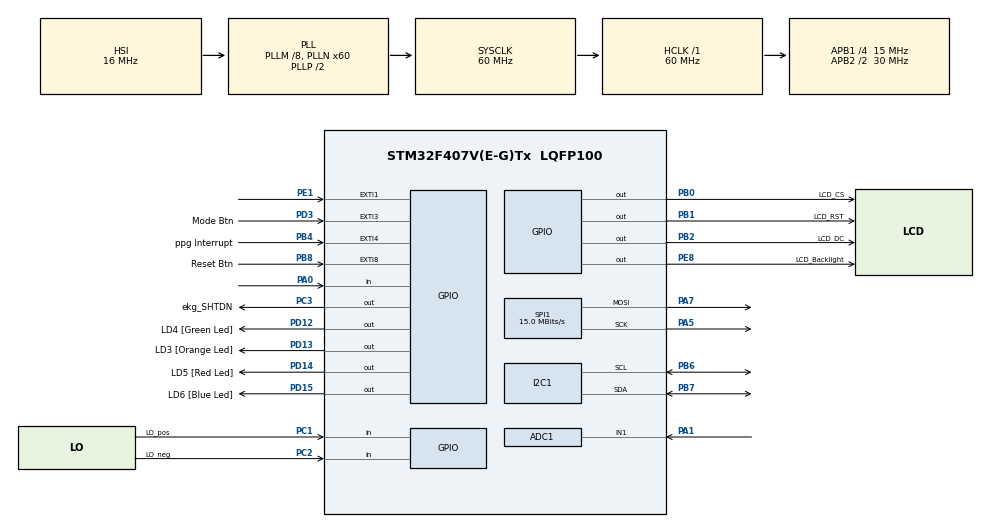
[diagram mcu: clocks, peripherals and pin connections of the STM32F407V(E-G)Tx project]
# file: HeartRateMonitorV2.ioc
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ADC1.Channel-2\#ChannelRegularConversion=ADC_CHANNEL_1
ADC1.ContinuousConvMode=DISABLE
ADC1.EOCSelection=ADC_EOC_SINGLE_CONV
ADC1.ExternalTrigConv=ADC_EXTERNALTRIGCONV_T3_TRGO
ADC1.NbrOfConversion=1
ADC1.NbrOfConversionFlag=1
ADC1.Rank-2\#ChannelRegularConversion=1
ADC1.SamplingTime-2\#ChannelRegularConversion=ADC_SAMPLETIME_3CYCLES
ADC1.master=1
Mcu.Family=STM32F4
Mcu.Name=STM32F407V(E-G)Tx
Mcu.Package=LQFP100
NVIC.ADC_IRQn=true\:1\:1\:true\:false\:true\:true\:true\:true
NVIC.EXTI1_IRQn=true\:2\:1\:true\:false\:true\:true\:true\:true
NVIC.EXTI3_IRQn=true\:2\:1\:true\:false\:true\:true\:true\:true
NVIC.EXTI4_IRQn=true\:1\:1\:true\:false\:true\:true\:true\:true
NVIC.EXTI9_5_IRQn=true\:2\:1\:true\:false\:true\:true\:true\:true
NVIC.I2C1_EV_IRQn=true\:1\:1\:true\:false\:true\:true\:true\:true
NVIC.PriorityGroup=NVIC_PRIORITYGROUP_2
NVIC.TIM6_DAC_IRQn=true\:0\:2\:true\:false\:true\:true\:true\:true
PA0-WKUP.Signal=GPIO_Input
PA1.Signal=ADCx_IN1
PA5.GPIO_PuPd=GPIO_PULLDOWN
PA5.Mode=TX_Only_Simplex_Unidirect_Master
PA5.Signal=SPI1_SCK
PA6.Signal=SPI1_MISO
PA7.GPIO_PuPd=GPIO_NOPULL
PA7.Mode=TX_Only_Simplex_Unidirect_Master
PA7.Signal=SPI1_MOSI
PB0.GPIO_Label=LCD_CS
PB0.Signal=GPIO_Output
PB1.GPIO_Label=LCD_RST
PB1.Signal=GPIO_Output
PB2.GPIO_Label=LCD_DC
PB2.Signal=GPIO_Output
PB4.GPIO_Label=ppg Interrupt
PB4.GPIO_ModeDefaultEXTI=GPIO_MODE_IT_FALLING
PB4.GPIO_PuPd=GPIO_PULLUP
PB4.Signal=GPXTI4
PB6.GPIO_Pu=GPIO_PULLUP
PB6.Mode=I2C
PB6.Signal=I2C1_SCL
PB7.GPIO_Pu=GPIO_PULLUP
PB7.Mode=I2C
PB7.Signal=I2C1_SDA
PB8.GPIO_Label=Reset Btn
PB8.GPIO_ModeDefaultEXTI=GPIO_MODE_IT_FALLING
PB8.GPIO_PuPd=GPIO_PULLUP
PB8.Signal=GPXTI8
PC1.GPIO_Label=LO_pos
PC1.GPIO_PuPd=GPIO_PULLDOWN
PC1.Signal=GPIO_Input
PC2.GPIO_Label=LO_neg
PC2.GPIO_PuPd=GPIO_PULLDOWN
PC2.Signal=GPIO_Input
PC3.GPIO_Label=ekg_SHTDN
PC3.Signal=GPIO_Output
PD12.GPIO_Label=LD4 [Green Led]
PD12.GPIO_PuPd=GPIO_NOPULL
PD12.GPIO_Speed=GPIO_SPEED_FREQ_LOW
PD12.Signal=GPIO_Output
PD13.GPIO_Label=LD3 [Orange Led]
PD13.GPIO_PuPd=GPIO_NOPULL
PD13.GPIO_Speed=GPIO_SPEED_FREQ_LOW
PD13.Signal=GPIO_Output
PD14.GPIO_Label=LD5 [Red Led]
PD14.GPIO_PuPd=GPIO_NOPULL
PD14.GPIO_Speed=GPIO_SPEED_FREQ_LOW
PD14.Signal=GPIO_Output
PD15.GPIO_Label=LD6 [Blue Led]
PD15.GPIO_PuPd=GPIO_NOPULL
PD15.GPIO_Speed=GPIO_SPEED_FREQ_LOW
PD15.Signal=GPIO_Output
PD3.GPIO_Label=Mode Btn
PD3.GPIO_ModeDefaultEXTI=GPIO_MODE_IT_FALLING
PD3.GPIO_PuPd=GPIO_PULLUP
PD3.Signal=GPXTI3
PE1.GPIO_ModeDefaultEXTI=GPIO_MODE_IT_FALLING
PE1.GPIO_PuPd=GPIO_PULLUP
PE1.Signal=GPXTI1
PE8.GPIO_Label=LCD_Backlight 
PE8.Signal=GPIO_Output
ProjectManager.HeapSize=0x200
ProjectManager.StackSize=0x400
ProjectManager.TargetToolchain=STM32CubeIDE
RCC.48MHZClocksFreq_Value=17142857.14285714
RCC.AHBFreq_Value=60000000
RCC.APB1CLKDivider=RCC_HCLK_DIV4
RCC.APB1Freq_Value=15000000
RCC.APB1TimFreq_Value=30000000
RCC.APB2CLKDivider=RCC_HCLK_DIV2
RCC.APB2Freq_Value=30000000
RCC.APB2TimFreq_Value=60000000
RCC.CortexFreq_Value=60000000
RCC.HCLKFreq_Value=60000000
RCC.HSE_VALUE=8000000
RCC.HSI_VALUE=16000000
RCC.LSE_VALUE=32768
RCC.PLLM=8
RCC.PLLN=60
RCC.PLLQ=7
RCC.SYSCLKFreq_VALUE=60000000
RCC.SYSCLKSource=RCC_SYSCLKSOURCE_PLLCLK
RCC.VCOOutputFreq_Value=120000000
SH.ADCx_IN1.0=ADC1_IN1,IN1
SPI1.CalculateBaudRate=15.0 MBits/s
SPI1.Direction=SPI_DIRECTION_2LINES
SPI1.Mode=SPI_MODE_MASTER
SPI1.VirtualType=VM_MASTER
TIM3.Channel-PWM\ Generation1\ No\ Output=TIM_CHANNEL_1
TIM3.Period=14999
TIM3.Prescaler=9
TIM3.TIM_MasterOutputTrigger=TIM_TRGO_UPDATE
TIM6.Period=4999
TIM6.Prescaler=5999
VP_TIM3_VS_ClockSourceINT.Mode=Internal
VP_TIM3_VS_no_output1.Mode=PWM Generation1 No Output
VP_TIM6_VS_ClockSourceINT.Mode=Enable_Timer
board=STM32F407G-DISC1

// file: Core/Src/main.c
/* USER CODE BEGIN Header */
/**
  ******************************************************************************
  * @file           : main.c
  * @brief          : Main program body
  ******************************************************************************
  * @attention
  *
  * Copyright (c) 2025 STMicroelectronics.
  * All rights reserved.
  *
  * This software is licensed under terms that can be found in the LICENSE file
  * in the root directory of this software component.
  * If no LICENSE file comes with this software, it is provided AS-IS.
  *
  ******************************************************************************
  */
/* USER CODE END Header */
#include "main.h"

/* USER CODE BEGIN Includes */
//#include "max030201.h"
#include "ppgSensor.h"
#include "ekgSensor.h"
#include "ili9341.h"
#include  <stdbool.h>
#include <stdio.h>
#include "UserInterface.h"
/* USER CODE END Includes */

ADC_HandleTypeDef hadc1;

I2C_HandleTypeDef hi2c1;

SPI_HandleTypeDef hspi1;

TIM_HandleTypeDef htim3;
TIM_HandleTypeDef htim6;

void SystemClock_Config(void);
static void MX_GPIO_Init(void);
static void MX_I2C1_Init(void);
static void MX_ADC1_Init(void);
static void MX_TIM3_Init(void);
static void MX_SPI1_Init(void);
static void MX_TIM6_Init(void);

/* USER CODE BEGIN 0 */

// Number of Pushbuttons
// Used for debouncing
#define NUMPUSHBTNS 3

// Store debounce counters
uint8_t debounce[NUMPUSHBTNS] = {0,};

// Debugging variables
int16_t adcvalue = 0;
uint32_t intcount[4] = {0,};
uint32_t timeA = 0;

/* USER CODE END 0 */

int main(void)
{

  /* MCU Configuration--------------------------------------------------------*/

  /* Reset of all peripherals, Initializes the Flash interface and the Systick. */
  HAL_Init();

  /* Configure the system clock */
  SystemClock_Config();

  /* Initialize all configured peripherals */
  MX_GPIO_Init();
  MX_I2C1_Init();
  MX_ADC1_Init();
  MX_TIM3_Init();
  MX_SPI1_Init();
  MX_TIM6_Init();
  /* USER CODE BEGIN 2 */

  // Initialize the ppgSensor
  ppgSensor_Init();

  // Initialize the LCD
  ILI9341_Init();

  // Start "Watchdog Timer"
  HAL_TIM_Base_Start_IT(&htim6);

  /* USER CODE END 2 */

  /* Infinite loop */
  /* USER CODE BEGIN WHILE */

  uint32_t ekg_sampleTime = 0;
  int16_t ekg_sample = 0;
  uint16_t ekgHB = 0;
  uint16_t ekg_status = ekgNoFail;

  while (1)
  {
    /* USER CODE END WHILE */

    /* USER CODE BEGIN 3 */
		switch(mode)
		{
		case PPGMode:
			ppgSensor_calculate_spO2HB();
			gfx_DrawPPGPage();
		break;
		case EKGModeContLarge:
			// Check if new sample is available to calculate and draw
			if (ekgSensor_CheckNewSampleFlag())
			{
				ekg_sampleTime = ekgSensor_GetCurrSampTime();
				ekg_sample = ekgSensor_GetCurrSample();
			    ekg_status = ekgSensor_GetStatus();
				ekgHB = ekgSensor_calcHB(ekg_sample, ekg_sampleTime, ekg_status);
				gfx_DrawEKGPageLarge(ekg_sample, ekg_sampleTime, ekgHB, ekg_status);
				ekgSensor_ClearNewSampleFlag();
				gfx_CheckPauseState();
			}
			break;
		case EKGModeContSmall:
			// Check if new sample is available to calculate and draw
			if (ekgSensor_CheckNewSampleFlag())
			{
				ekg_sampleTime = ekgSensor_GetCurrSampTime();
				ekg_sample = ekgSensor_GetCurrSample();
			    ekg_status = ekgSensor_GetStatus();
				ekgHB = ekgSensor_calcHB(ekg_sample, ekg_sampleTime, ekg_status);
				gfx_DrawEKGPageSmall(ekg_sample, ekg_sampleTime, ekgHB, ekg_status);
				ekgSensor_ClearNewSampleFlag();
				gfx_CheckPauseState();
			}
			break;
		case EKGModeSingleLarge:
		break;
		case EKGModeSingleSmall:
			break;
		}
  }
  /* USER CODE END 3 */
}

void SystemClock_Config(void)
{
  RCC_OscInitTypeDef RCC_OscInitStruct = {0};
  RCC_ClkInitTypeDef RCC_ClkInitStruct = {0};

  /** Configure the main internal regulator output voltage
  */
  __HAL_RCC_PWR_CLK_ENABLE();
  __HAL_PWR_VOLTAGESCALING_CONFIG(PWR_REGULATOR_VOLTAGE_SCALE1);

  /** Initializes the RCC Oscillators according to the specified parameters
  * in the RCC_OscInitTypeDef structure.
  */
  RCC_OscInitStruct.OscillatorType = RCC_OSCILLATORTYPE_HSI;
  RCC_OscInitStruct.HSIState = RCC_HSI_ON;
  RCC_OscInitStruct.HSICalibrationValue = RCC_HSICALIBRATION_DEFAULT;
  RCC_OscInitStruct.PLL.PLLState = RCC_PLL_ON;
  RCC_OscInitStruct.PLL.PLLSource = RCC_PLLSOURCE_HSI;
  RCC_OscInitStruct.PLL.PLLM = 8;
  RCC_OscInitStruct.PLL.PLLN = 60;
  RCC_OscInitStruct.PLL.PLLP = RCC_PLLP_DIV2;
  RCC_OscInitStruct.PLL.PLLQ = 7;
  if (HAL_RCC_OscConfig(&RCC_OscInitStruct) != HAL_OK)
  {
    Error_Handler();
  }

  /** Initializes the CPU, AHB and APB buses clocks
  */
  RCC_ClkInitStruct.ClockType = RCC_CLOCKTYPE_HCLK|RCC_CLOCKTYPE_SYSCLK
                              |RCC_CLOCKTYPE_PCLK1|RCC_CLOCKTYPE_PCLK2;
  RCC_ClkInitStruct.SYSCLKSource = RCC_SYSCLKSOURCE_PLLCLK;
  RCC_ClkInitStruct.AHBCLKDivider = RCC_SYSCLK_DIV1;
  RCC_ClkInitStruct.APB1CLKDivider = RCC_HCLK_DIV4;
  RCC_ClkInitStruct.APB2CLKDivider = RCC_HCLK_DIV2;

  if (HAL_RCC_ClockConfig(&RCC_ClkInitStruct, FLASH_LATENCY_1) != HAL_OK)
  {
    Error_Handler();
  }
}

static void MX_ADC1_Init(void)
{

  ADC_ChannelConfTypeDef sConfig = {0};

  /** Configure the global features of the ADC (Clock, Resolution, Data Alignment and number of conversion)
  */
  hadc1.Instance = ADC1;
  hadc1.Init.ClockPrescaler = ADC_CLOCK_SYNC_PCLK_DIV2;
  hadc1.Init.Resolution = ADC_RESOLUTION_12B;
  hadc1.Init.ScanConvMode = DISABLE;
  hadc1.Init.ContinuousConvMode = DISABLE;
  hadc1.Init.DiscontinuousConvMode = DISABLE;
  hadc1.Init.ExternalTrigConvEdge = ADC_EXTERNALTRIGCONVEDGE_RISING;
  hadc1.Init.ExternalTrigConv = ADC_EXTERNALTRIGCONV_T3_TRGO;
  hadc1.Init.DataAlign = ADC_DATAALIGN_RIGHT;
  hadc1.Init.NbrOfConversion = 1;
  hadc1.Init.DMAContinuousRequests = DISABLE;
  hadc1.Init.EOCSelection = ADC_EOC_SINGLE_CONV;
  if (HAL_ADC_Init(&hadc1) != HAL_OK)
  {
    Error_Handler();
  }

  /** Configure for the selected ADC regular channel its corresponding rank in the sequencer and its sample time.
  */
  sConfig.Channel = ADC_CHANNEL_1;
  sConfig.Rank = 1;
  sConfig.SamplingTime = ADC_SAMPLETIME_3CYCLES;
  if (HAL_ADC_ConfigChannel(&hadc1, &sConfig) != HAL_OK)
  {
    Error_Handler();
  }

}

static void MX_I2C1_Init(void)
{

  hi2c1.Instance = I2C1;
  hi2c1.Init.ClockSpeed = 100000;
  hi2c1.Init.DutyCycle = I2C_DUTYCYCLE_2;
  hi2c1.Init.OwnAddress1 = 0;
  hi2c1.Init.AddressingMode = I2C_ADDRESSINGMODE_7BIT;
  hi2c1.Init.DualAddressMode = I2C_DUALADDRESS_DISABLE;
  hi2c1.Init.OwnAddress2 = 0;
  hi2c1.Init.GeneralCallMode = I2C_GENERALCALL_DISABLE;
  hi2c1.Init.NoStretchMode = I2C_NOSTRETCH_DISABLE;
  if (HAL_I2C_Init(&hi2c1) != HAL_OK)
  {
    Error_Handler();
  }

}

static void MX_SPI1_Init(void)
{

  /* SPI1 parameter configuration*/
  hspi1.Instance = SPI1;
  hspi1.Init.Mode = SPI_MODE_MASTER;
  hspi1.Init.Direction = SPI_DIRECTION_2LINES;
  hspi1.Init.DataSize = SPI_DATASIZE_8BIT;
  hspi1.Init.CLKPolarity = SPI_POLARITY_LOW;
  hspi1.Init.CLKPhase = SPI_PHASE_1EDGE;
  hspi1.Init.NSS = SPI_NSS_SOFT;
  hspi1.Init.BaudRatePrescaler = SPI_BAUDRATEPRESCALER_2;
  hspi1.Init.FirstBit = SPI_FIRSTBIT_MSB;
  hspi1.Init.TIMode = SPI_TIMODE_DISABLE;
  hspi1.Init.CRCCalculation = SPI_CRCCALCULATION_DISABLE;
  hspi1.Init.CRCPolynomial = 10;
  if (HAL_SPI_Init(&hspi1) != HAL_OK)
  {
    Error_Handler();
  }

}

static void MX_TIM3_Init(void)
{

  TIM_ClockConfigTypeDef sClockSourceConfig = {0};
  TIM_MasterConfigTypeDef sMasterConfig = {0};
  TIM_OC_InitTypeDef sConfigOC = {0};

  htim3.Instance = TIM3;
  htim3.Init.Prescaler = 9;
  htim3.Init.CounterMode = TIM_COUNTERMODE_UP;
  htim3.Init.Period = 14999;
  htim3.Init.ClockDivision = TIM_CLOCKDIVISION_DIV1;
  htim3.Init.AutoReloadPreload = TIM_AUTORELOAD_PRELOAD_DISABLE;
  if (HAL_TIM_Base_Init(&htim3) != HAL_OK)
  {
    Error_Handler();
  }
  sClockSourceConfig.ClockSource = TIM_CLOCKSOURCE_INTERNAL;
  if (HAL_TIM_ConfigClockSource(&htim3, &sClockSourceConfig) != HAL_OK)
  {
    Error_Handler();
  }
  if (HAL_TIM_PWM_Init(&htim3) != HAL_OK)
  {
    Error_Handler();
  }
  sMasterConfig.MasterOutputTrigger = TIM_TRGO_UPDATE;
  sMasterConfig.MasterSlaveMode = TIM_MASTERSLAVEMODE_DISABLE;
  if (HAL_TIMEx_MasterConfigSynchronization(&htim3, &sMasterConfig) != HAL_OK)
  {
    Error_Handler();
  }
  sConfigOC.OCMode = TIM_OCMODE_PWM1;
  sConfigOC.Pulse = 0;
  sConfigOC.OCPolarity = TIM_OCPOLARITY_HIGH;
  sConfigOC.OCFastMode = TIM_OCFAST_DISABLE;
  if (HAL_TIM_PWM_ConfigChannel(&htim3, &sConfigOC, TIM_CHANNEL_1) != HAL_OK)
  {
    Error_Handler();
  }

}

static void MX_TIM6_Init(void)
{

  TIM_MasterConfigTypeDef sMasterConfig = {0};

  htim6.Instance = TIM6;
  htim6.Init.Prescaler = 5999;
  htim6.Init.CounterMode = TIM_COUNTERMODE_UP;
  htim6.Init.Period = 4999;
  htim6.Init.AutoReloadPreload = TIM_AUTORELOAD_PRELOAD_DISABLE;
  if (HAL_TIM_Base_Init(&htim6) != HAL_OK)
  {
    Error_Handler();
  }
  sMasterConfig.MasterOutputTrigger = TIM_TRGO_RESET;
  sMasterConfig.MasterSlaveMode = TIM_MASTERSLAVEMODE_DISABLE;
  if (HAL_TIMEx_MasterConfigSynchronization(&htim6, &sMasterConfig) != HAL_OK)
  {
    Error_Handler();
  }

}

static void MX_GPIO_Init(void)
{
  GPIO_InitTypeDef GPIO_InitStruct = {0};

  /* GPIO Ports Clock Enable */
  __HAL_RCC_GPIOC_CLK_ENABLE();
  __HAL_RCC_GPIOA_CLK_ENABLE();
  __HAL_RCC_GPIOB_CLK_ENABLE();
  __HAL_RCC_GPIOE_CLK_ENABLE();
  __HAL_RCC_GPIOD_CLK_ENABLE();

  /*Configure GPIO pin Output Level */
  HAL_GPIO_WritePin(ekg_SHTDN_GPIO_Port, ekg_SHTDN_Pin, GPIO_PIN_RESET);

  /*Configure GPIO pin Output Level */
  HAL_GPIO_WritePin(GPIOB, LCD_CS_Pin|LCD_RST_Pin|LCD_DC_Pin, GPIO_PIN_RESET);

  /*Configure GPIO pin Output Level */
  HAL_GPIO_WritePin(LCD_Backlight_GPIO_Port, LCD_Backlight_Pin, GPIO_PIN_RESET);

  /*Configure GPIO pin Output Level */
  HAL_GPIO_WritePin(GPIOD, LD4_Pin|LD3_Pin|LD5_Pin|LD6_Pin, GPIO_PIN_RESET);

  /*Configure GPIO pins : LO_pos_Pin LO_neg_Pin */
  GPIO_InitStruct.Pin = LO_pos_Pin|LO_neg_Pin;
  GPIO_InitStruct.Mode = GPIO_MODE_INPUT;
  GPIO_InitStruct.Pull = GPIO_PULLDOWN;
  HAL_GPIO_Init(GPIOC, &GPIO_InitStruct);

  /*Configure GPIO pin : ekg_SHTDN_Pin */
  GPIO_InitStruct.Pin = ekg_SHTDN_Pin;
  GPIO_InitStruct.Mode = GPIO_MODE_OUTPUT_PP;
  GPIO_InitStruct.Pull = GPIO_NOPULL;
  GPIO_InitStruct.Speed = GPIO_SPEED_FREQ_LOW;
  HAL_GPIO_Init(ekg_SHTDN_GPIO_Port, &GPIO_InitStruct);

  /*Configure GPIO pin : PA0 */
  GPIO_InitStruct.Pin = GPIO_PIN_0;
  GPIO_InitStruct.Mode = GPIO_MODE_INPUT;
  GPIO_InitStruct.Pull = GPIO_NOPULL;
  HAL_GPIO_Init(GPIOA, &GPIO_InitStruct);

  /*Configure GPIO pins : LCD_CS_Pin LCD_RST_Pin LCD_DC_Pin */
  GPIO_InitStruct.Pin = LCD_CS_Pin|LCD_RST_Pin|LCD_DC_Pin;
  GPIO_InitStruct.Mode = GPIO_MODE_OUTPUT_PP;
  GPIO_InitStruct.Pull = GPIO_NOPULL;
  GPIO_InitStruct.Speed = GPIO_SPEED_FREQ_LOW;
  HAL_GPIO_Init(GPIOB, &GPIO_InitStruct);

  /*Configure GPIO pin : LCD_Backlight_Pin */
  GPIO_InitStruct.Pin = LCD_Backlight_Pin;
  GPIO_InitStruct.Mode = GPIO_MODE_OUTPUT_PP;
  GPIO_InitStruct.Pull = GPIO_NOPULL;
  GPIO_InitStruct.Speed = GPIO_SPEED_FREQ_LOW;
  HAL_GPIO_Init(LCD_Backlight_GPIO_Port, &GPIO_InitStruct);

  /*Configure GPIO pins : LD4_Pin LD3_Pin LD5_Pin LD6_Pin */
  GPIO_InitStruct.Pin = LD4_Pin|LD3_Pin|LD5_Pin|LD6_Pin;
  GPIO_InitStruct.Mode = GPIO_MODE_OUTPUT_PP;
  GPIO_InitStruct.Pull = GPIO_NOPULL;
  GPIO_InitStruct.Speed = GPIO_SPEED_FREQ_LOW;
  HAL_GPIO_Init(GPIOD, &GPIO_InitStruct);

  /*Configure GPIO pin : Mode_Btn_Pin */
  GPIO_InitStruct.Pin = Mode_Btn_Pin;
  GPIO_InitStruct.Mode = GPIO_MODE_IT_FALLING;
  GPIO_InitStruct.Pull = GPIO_PULLUP;
  HAL_GPIO_Init(Mode_Btn_GPIO_Port, &GPIO_InitStruct);

  /*Configure GPIO pins : ppg_Interrupt_Pin Reset_Btn_Pin */
  GPIO_InitStruct.Pin = ppg_Interrupt_Pin|Reset_Btn_Pin;
  GPIO_InitStruct.Mode = GPIO_MODE_IT_FALLING;
  GPIO_InitStruct.Pull = GPIO_PULLUP;
  HAL_GPIO_Init(GPIOB, &GPIO_InitStruct);

  /*Configure GPIO pin : PE1 */
  GPIO_InitStruct.Pin = GPIO_PIN_1;
  GPIO_InitStruct.Mode = GPIO_MODE_IT_FALLING;
  GPIO_InitStruct.Pull = GPIO_PULLUP;
  HAL_GPIO_Init(GPIOE, &GPIO_InitStruct);

  /* EXTI interrupt init*/
  HAL_NVIC_SetPriority(EXTI1_IRQn, 2, 1);
  HAL_NVIC_EnableIRQ(EXTI1_IRQn);

  HAL_NVIC_SetPriority(EXTI3_IRQn, 2, 1);
  HAL_NVIC_EnableIRQ(EXTI3_IRQn);

  HAL_NVIC_SetPriority(EXTI4_IRQn, 1, 1);
  HAL_NVIC_EnableIRQ(EXTI4_IRQn);

  HAL_NVIC_SetPriority(EXTI9_5_IRQn, 2, 1);
  HAL_NVIC_EnableIRQ(EXTI9_5_IRQn);

}

/* USER CODE BEGIN 4 */

/* GPIO Interrupt Function
 *
 * Handles misc GPIO interrupts
 *
 *
 * */
void HAL_GPIO_EXTI_Callback(uint16_t GPIO_Pin)
{
	// Debug
//	uint16_t pin3_state = 0;
//	uint16_t pin1_state = 0;
//	uint16_t pin8_state = 0;

//	pin3_state = HAL_GPIO_ReadPin(GPIOD, GPIO_PIN_3);
//	pin1_state = HAL_GPIO_ReadPin(GPIOE, GPIO_PIN_1);
//	pin8_state = HAL_GPIO_ReadPin(GPIOB, GPIO_PIN_8);

	// This kinda sucks
	switch(GPIO_Pin)
	{
	case GPIO_PIN_3:
	{
		// Change mode
		if(debounce[0] == false)
		{
			uint8_t mode_pv = mode;
			mode = (mode + 1) % NUMOFMODES;
			// Set mode transition flag to change mode page
			mode_tf = 1;
			// Un pause screen in case it was paused
			pause_screen = false;

			if (mode == PPGMode)
			{
				// Enable PPG and Shutdown EKG
				ppgSensor_Shutdown(false);

				// Shutdown EKG and Stop ADC/Timer
				HAL_GPIO_WritePin(GPIOC, GPIO_PIN_3, 0);
				HAL_ADC_Stop_IT(&hadc1);
				HAL_TIM_PWM_Stop(&htim3, TIM_CHANNEL_1);
			}
			else
			{
				// If first time entering EKG mode, then
				// start ADC.
				if (mode_pv == PPGMode)
				{
					ppgSensor_Shutdown(true);
					HAL_GPIO_WritePin(GPIOC, GPIO_PIN_3, 1);
					HAL_ADC_Start_IT(&hadc1);
					HAL_TIM_PWM_Start(&htim3, TIM_CHANNEL_1);
				}
			}
			debounce[0] = true;
		}
		break;
	}
	case GPIO_PIN_1:
	{
		// Change view?
		if(debounce[1] == false)
		{
			if((mode == EKGModeContLarge) ||
			  (mode == EKGModeContSmall))
			  {
				if(pause_screen == true)
				{
					pause_screen = false;
				}
				else
				{
					pause_screen = true;
				}
			  }
			debounce[1] = true;
		}
		break;
	}
	case GPIO_PIN_8:
	{
		// Reset/Sleep?
		if(debounce[2] == false)
		{
			ppgSensor_Init();
			debounce[2] = true;
		}
		break;
	}
	case GPIO_PIN_4:
	{
		ppgSensor_PPGInterrupt();
		break;
	}
	}
}

void HAL_I2C_MemRxCpltCallback(I2C_HandleTypeDef *hi2c)
{
	ppgSensor_I2CInterrupt();
}

/* SysTick/Debounce Function */
void HAL_SYSTICK_Callback(void)
{
	static uint32_t time_pv[NUMPUSHBTNS] = {0,};
	uint32_t curr_time;

	curr_time = HAL_GetTick();
	for (int i=0; i<NUMPUSHBTNS; i++)
	{
		if (debounce[i] == true)
		{
			if (time_pv[i] == 0)
			{
				time_pv[i] = curr_time;
			}

			if (curr_time-time_pv[i] > 500)
			{
				debounce[i] = false;
				time_pv[i] = 0;
			}
		}
	}
}

void HAL_ADC_ConvCpltCallback(ADC_HandleTypeDef *hadc)
{
	adcvalue = HAL_ADC_GetValue(hadc);
	ekgSensor_storeSample(adcvalue);
}

void HAL_TIM_PeriodElapsedCallback(TIM_HandleTypeDef *htim)
{
	static uint8_t ppgSensorAlive_pv = 0;
	static uint8_t ppgSensorAlive_PC = 0;

	// 1 second watch dog timer
	if (htim == &htim6)
	{
		// Check if misc device heartbeat counters have changed since last check
		if(ppgSensorAlive == ppgSensorAlive_pv)
		{
			ppgSensorAlive_PC = ppgSensorAlive_PC + 1;

			if (ppgSensorAlive_PC > 4)
			{
				ppgSensor_SetFailure(ppgSensorI2CFail);
			}
		}
		else
		{
			ppgSensorAlive_PC = 0;
		}
		ppgSensorAlive_pv = ppgSensorAlive;
	}

	HAL_GPIO_TogglePin(GPIOD, GPIO_PIN_15);
}
/* USER CODE END 4 */

void Error_Handler(void)
{
  __disable_irq();
  while (1)
  {
  }
}
